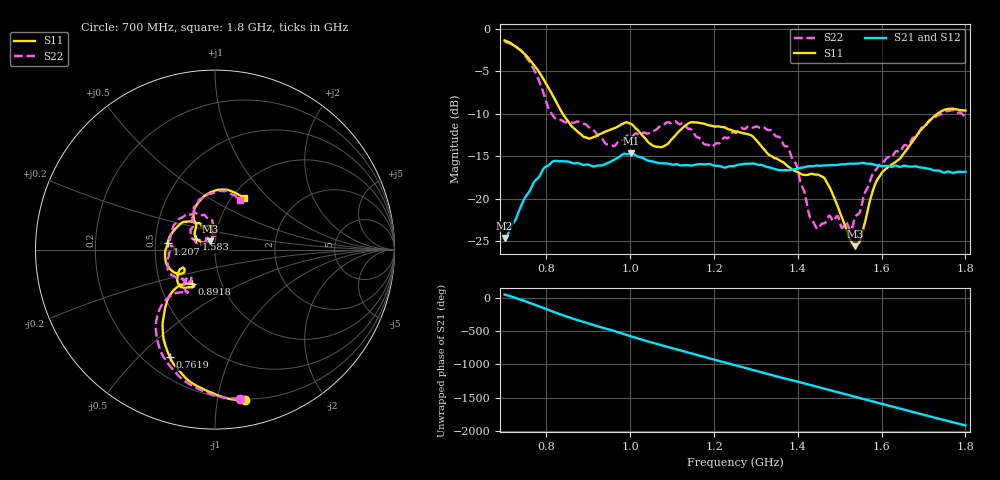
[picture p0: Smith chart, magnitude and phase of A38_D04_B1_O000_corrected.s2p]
! Created with skrf 1.9.0 (http://scikit-rf.org).
# Hz S RI R 50.0
!freq ReS11 ImS11 ReS21 ImS21 ReS12 ImS12 ReS22 ImS22
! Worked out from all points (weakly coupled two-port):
!   1601 points, 700 MHz to 1.8 GHz, reference 50 ohm
!   highest |S21| = -14.64 dB at 1.002 GHz (marker M1); lowest = -24.6 dB at 700 MHz (marker M2)
!   lowest |S11| = -25.6 dB at 1.536 GHz (marker M3), VSWR 1.11, Z = 47.4 + j4.4 ohm
!   |S11| at or under -10 dB: 838.8 MHz to 1.732 GHz (893.5 MHz wide, 69.5 % of centre)
!   |S22| runs from -23.8 to -1.5 dB; largest |S21 - S12| = 0.0034
!   S11 on the Smith chart (normalised r, x): 700 MHz: 0.19, -1.20; 761.9 MHz: 0.30, -0.62; 891.8 MHz: 0.72, -0.29; 1.207 GHz: 0.58, +0.04; 1.583 GHz: 0.81, +0.10; 1.8 GHz: 1.13, +0.73
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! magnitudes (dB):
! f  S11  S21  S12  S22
! 700 MHz  -1.4  -24.6  -24.4  -1.5
! 761.9 MHz  -3.8  -18.9  -18.8  -4.0
! 818.2 MHz  -8.1  -15.5  -15.6  -10.4
! 883.6 MHz  -12.5  -15.9  -15.8  -11.1
! 891.8 MHz  -12.8  -16.0  -16.0  -11.2
! 957.1 MHz  -11.8  -15.5  -15.5  -13.7
! 1.002 GHz  -11.2  -14.6  -14.7  -12.7
! 1.067 GHz  -13.9  -15.8  -15.7  -11.6
! 1.143 GHz  -11.0  -16.1  -16.1  -11.8
! 1.207 GHz  -11.5  -16.1  -16.2  -13.4
! 1.25 GHz  -12.1  -16.1  -16.0  -12.2
! 1.357 GHz  -15.5  -16.6  -16.6  -12.8
! 1.396 GHz  -16.8  -16.5  -16.5  -15.9
! 1.434 GHz  -17.0  -16.2  -16.1  -22.5
! 1.468 GHz  -17.9  -16.1  -16.0  -22.6
! 1.526 GHz  -24.8  -15.8  -15.8  -23.8
! 1.536 GHz  -25.6  -15.8  -15.9  -22.3
! 1.55 GHz  -24.7  -15.8  -15.8  -21.3
! 1.583 GHz  -18.5  -16.0  -16.0  -16.8
! 1.617 GHz  -16.2  -16.2  -16.1  -15.1
! 1.733 GHz  -10.0  -16.7  -16.7  -10.2
! 1.8 GHz  -9.6  -16.8  -16.8  -10.2
